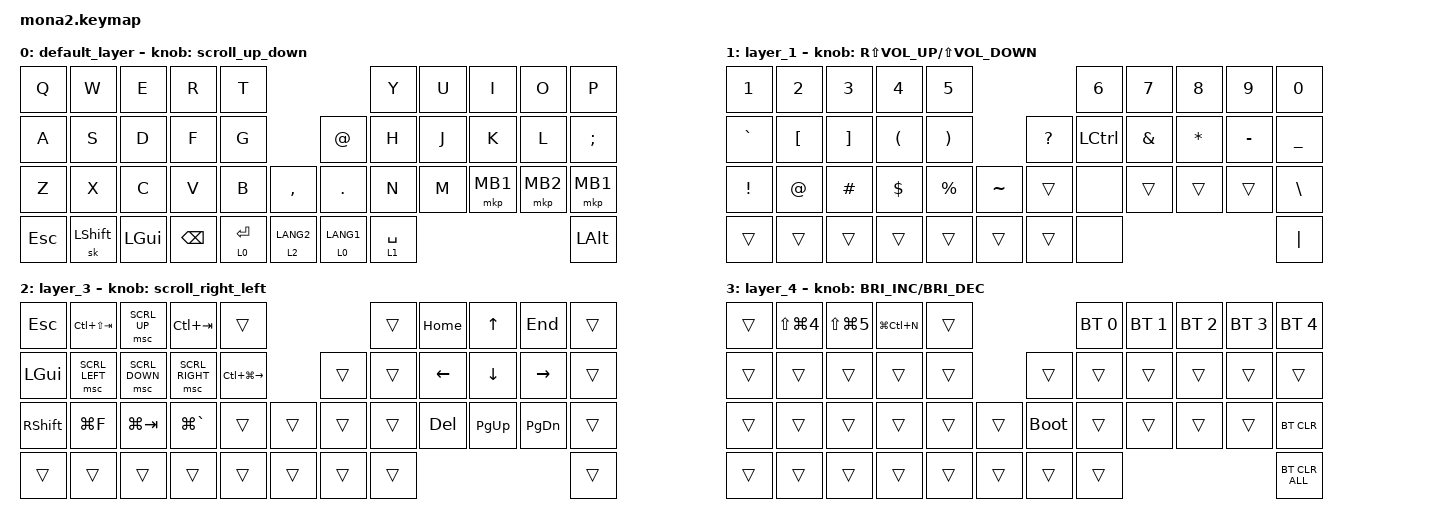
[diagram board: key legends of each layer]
#include <input/processors.dtsi>
#include <dt-bindings/zmk/input_transform.h>
#include <zephyr/dt-bindings/input/input-event-codes.h>
#include <behaviors.dtsi>
#include <dt-bindings/zmk/bt.h>
#include <dt-bindings/zmk/keys.h>
#include <dt-bindings/zmk/pointing.h>

#define ZMK_POINTING_DEFAULT_SCRL_VAL 100
#define MOUSE 5
#define SCROLL 6

&mt {
    flavor = "balanced";
    quick-tap-ms = <0>;
};

&lt {
    quick-tap-ms = <300>;
    flavor = "balanced";
};

/ {
    combos {
        compatible = "zmk,combos";

        layer4_ESC {
            bindings = <&lt 3 ESC>;
            key-positions = <39 38>;
        };

        tab {
            bindings = <&kp TAB>;
            key-positions = <11 12>;
        };

        shift_tab {
            bindings = <&kp LS(TAB)>;
            key-positions = <12 13>;
        };

        double_quotation {
            bindings = <&kp DOUBLE_QUOTES>;
            key-positions = <18 19>;
        };

        equal {
            bindings = <&kp EQUAL>;
            key-positions = <8 9>;
        };

        single_quote {
            bindings = <&kp SINGLE_QUOTE>;
            key-positions = <20 19>;
        };

        minus {
            bindings = <&kp MINUS>;
            key-positions = <7 8>;
        };

        backtick {
            bindings = <&kp GRAVE>;
            key-positions = <0 1>;
        };
    };

    macros {
        to_layer_0: to_layer_0 {
            compatible = "zmk,behavior-macro-one-param";
            #binding-cells = <1>;
            bindings = <&to 0 &macro_param_1to1 &kp MACRO_PLACEHOLDER>;
            label = "TO_LAYER_0";
        };
    };

    behaviors {
        lt_to_layer_0: lt_to_layer_0 {
            compatible = "zmk,behavior-hold-tap";
            label = "LAYER_TAP_TO_0";
            bindings = <&mo>, <&to_layer_0>;

            #binding-cells = <2>;
            tapping-term-ms = <200>;
        };

        scroll_up_down: mouse_wheel_up_down {
            compatible = "zmk,behavior-sensor-rotate";
            #sensor-binding-cells = <0>;
            bindings = <&msc SCRL_DOWN>, <&msc SCRL_UP>;

            tap-ms = <20>;
        };

        scroll_right_left: mouse_wheel_right_left {
            compatible = "zmk,behavior-sensor-rotate";
            #sensor-binding-cells = <0>;
            bindings = <&msc SCRL_LEFT>, <&msc SCRL_RIGHT>;

            tap-ms = <20>;
        };
    };

    keymap {
        compatible = "zmk,keymap";

        default_layer {
            bindings = <
&kp Q             &kp W            &kp E         &kp R          &kp T                                                          &kp Y        &kp U  &kp I     &kp O     &kp P
&kp A             &kp S            &kp D         &kp F          &kp G                                  &kp AT_SIGN             &kp H        &kp J  &kp K     &kp L     &kp SEMICOLON
&kp Z             &kp X            &kp C         &kp V          &kp B        &kp COMMA                 &kp PERIOD              &kp N        &kp M  &mkp MB1  &mkp MB2  &mkp MB1
&kp ESCAPE        &sk LSHIFT       &kp LEFT_GUI  &kp BACKSPACE  &lt 0 ENTER  &lt_to_layer_0 2 LANG2    &lt_to_layer_0 0 LANG1  &lt 1 SPACE                             &kp LEFT_ALT
            >;

            sensor-bindings = <&scroll_up_down>;
        };

        layer_1 {
            bindings = <
&kp NUMBER_1     &kp NUMBER_2      &kp NUMBER_3       &kp NUMBER_4          &kp NUMBER_5                                      &kp NUMBER_6  &kp NUMBER_7   &kp NUMBER_8  &kp NUMBER_9  &kp NUMBER_0
&kp GRAVE        &kp LEFT_BRACKET  &kp RIGHT_BRACKET  &kp LEFT_PARENTHESIS  &kp RIGHT_PARENTHESIS               &kp QUESTION  &kp LCTRL     &kp AMPERSAND  &kp ASTERISK  &kp MINUS     &kp UNDERSCORE
&kp EXCLAMATION  &kp AT_SIGN       &kp POUND          &kp DOLLAR            &kp PERCENT            &kp TILDE    &trans        &none         &trans         &trans        &trans        &kp BACKSLASH
&trans           &trans            &trans             &trans                &trans                 &trans       &trans        &none                                                    &kp PIPE
            >;

            sensor-bindings = <&inc_dec_kp RS(C_VOLUME_UP) LS(C_VOLUME_DOWN)>;
        };

        layer_3 {
            bindings = <
&kp ESC          &kp LC(LS(TAB))  &msc SCRL_UP    &kp LC(TAB)      &trans                                     &trans  &kp HOME        &kp UP_ARROW    &kp END          &trans
&kp LGUI         &msc SCRL_LEFT   &msc SCRL_DOWN  &msc SCRL_RIGHT  &kp LC(LG(RIGHT_ARROW))            &trans  &trans  &kp LEFT_ARROW  &kp DOWN_ARROW  &kp RIGHT_ARROW  &trans
&kp RIGHT_SHIFT  &kp LG(F)        &kp LG(TAB)     &kp LG(GRAVE)    &trans                   &trans    &trans  &trans  &kp DELETE      &kp PAGE_UP     &kp PAGE_DOWN    &trans
&trans           &trans           &trans          &trans           &trans                   &trans    &trans  &trans                                                   &trans
            >;

            sensor-bindings = <&scroll_right_left>;
        };

        layer_4 {
            bindings = <
&trans  &kp LS(LG(N4))  &kp LS(LG(N5))  &kp LG(LC(N))  &trans                         &bt BT_SEL 0  &bt BT_SEL 1  &bt BT_SEL 2  &bt BT_SEL 3  &bt BT_SEL 4
&trans  &trans          &trans          &trans         &trans            &trans       &trans        &trans        &trans        &trans        &trans
&trans  &trans          &trans          &trans         &trans  &trans    &bootloader  &trans        &trans        &trans        &trans        &bt BT_CLR
&trans  &trans          &trans          &trans         &trans  &trans    &trans       &trans                                                  &bt BT_CLR_ALL
            >;

            sensor-bindings = <&inc_dec_kp C_BRIGHTNESS_INC C_BRIGHTNESS_DEC>;
        };
    };
};
